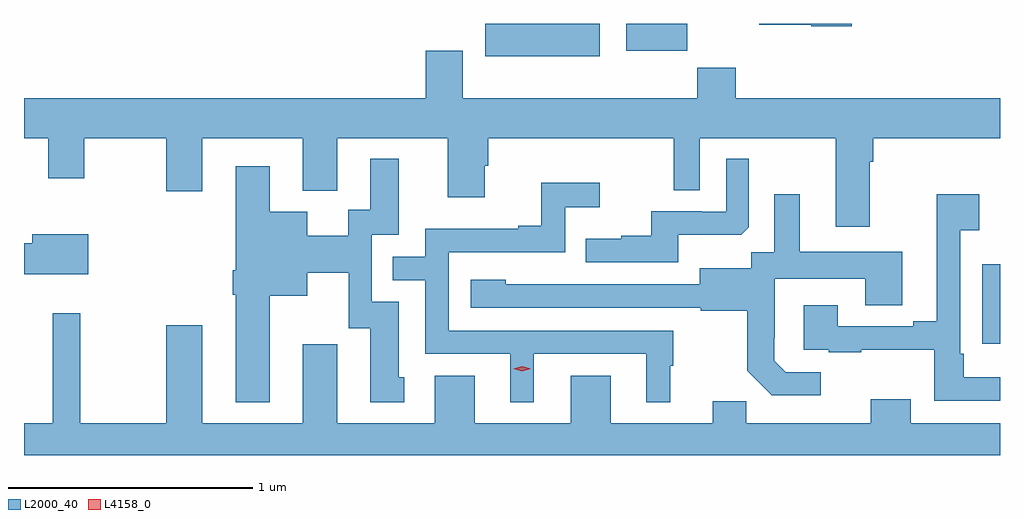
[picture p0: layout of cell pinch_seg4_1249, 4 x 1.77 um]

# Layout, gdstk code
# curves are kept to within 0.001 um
import gdstk
lib = gdstk.Library(unit=1e-6, precision=1e-09)
def R(c, l, rs):  # rectangles x0, y0, x1, y1
    for r in rs: c.add(gdstk.rectangle(r[:2], r[2:], *l))
def P(c, l, *ps):  # polygons
    for p in ps: c.add(gdstk.Polygon(p, *l))
L2000_40 = (2000, 40)
L4158_0 = (4158, 0)

pinch_seg4_1249 = lib.new_cell('pinch_seg4_1249')
R(pinch_seg4_1249, L2000_40, [(181.368,749.357,181.44,749.683), (179.33,750.536,179.8,750.67), (179.909,750.558,180.158,750.67)])
P(pinch_seg4_1249, L2000_40, [(180.833,750.67),(180.454,750.67),(180.454,750.666),(180.666,750.666),(180.666,750.658),(180.833,750.658)],
  [(180.907,750.104),(180.92,750.104),(180.92,750.2),(181.44,750.2),(181.44,750.364),(180.356,750.364),(180.356,750.488),(180.199,750.488),(180.199,750.364),(179.239,750.364),(179.239,750.559),(179.087,750.559),(179.087,750.364),(177.44,750.364),(177.44,750.2),(177.539,750.2),(177.539,750.036),(177.687,750.036),(177.687,750.2),(178.024,750.2),(178.024,749.982),(178.171,749.982),(178.171,750.2),(178.583,750.2),(178.583,749.984),(178.723,749.984),(178.723,750.2),(179.177,750.2),(179.177,749.958),(179.329,749.958),(179.329,750.087),(179.342,750.087),(179.342,750.2),(180.102,750.2),(180.102,749.986),(180.21,749.986),(180.21,750.2),(180.767,750.2),(180.767,749.838),(180.907,749.838)],
  [(180.121,749.804),(180.379,749.804),(180.411,749.835),(180.411,750.115),(180.318,750.115),(180.318,749.898),(180.218,749.898),(180.218,749.901),(180.011,749.901),(180.011,749.8),(179.887,749.8),(179.887,749.788),(179.743,749.788),(179.743,749.691),(180.121,749.691)],
  [(178.447,749.555),(178.6,749.555),(178.6,749.648),(178.77,749.648),(178.77,749.421),(178.859,749.421),(178.859,749.118),(178.999,749.118),(178.999,749.22),(178.975,749.22),(178.975,749.529),(178.866,749.529),(178.866,749.805),(178.975,749.805),(178.975,750.115),(178.859,750.115),(178.859,749.906),(178.769,749.906),(178.769,749.8),(178.6,749.8),(178.6,749.899),(178.447,749.899),(178.447,750.085),(178.307,750.085),(178.307,749.659),(178.295,749.659),(178.295,749.559),(178.307,749.559),(178.307,749.117),(178.447,749.117)],
  [(179.53,749.316),(179.99,749.316),(179.99,749.117),(180.088,749.117),(180.088,749.268),(180.1,749.268),(180.1,749.412),(179.181,749.412),(179.181,749.733),(179.658,749.733),(179.658,749.918),(179.8,749.918),(179.8,750.017),(179.56,750.017),(179.56,749.842),(179.465,749.842),(179.465,749.829),(179.085,749.829),(179.085,749.715),(178.951,749.715),(178.951,749.619),(179.085,749.619),(179.085,749.316),(179.432,749.316),(179.432,749.117),(179.53,749.117)],
  [(181.44,749.221),(181.291,749.221),(181.291,749.317),(181.278,749.317),(181.278,749.822),(181.354,749.822),(181.354,749.971),(181.181,749.971),(181.181,749.449),(181.085,749.449),(181.085,749.43),(180.775,749.43),(180.775,749.515),(180.635,749.515),(180.635,749.334),(180.739,749.334),(180.739,749.322),(180.871,749.322),(180.871,749.333),(181.17,749.333),(181.17,749.124),(181.44,749.124)],
  [(180.706,749.241),(180.561,749.241),(180.514,749.288),(180.514,749.383),(180.516,749.383),(180.516,749.624),(180.887,749.624),(180.887,749.515),(181.039,749.515),(181.039,749.734),(180.619,749.734),(180.619,749.971),(180.515,749.971),(180.515,749.732),(180.42,749.732),(180.42,749.668),(180.209,749.668),(180.209,749.601),(179.415,749.602),(179.415,749.62),(179.271,749.62),(179.271,749.505),(180.213,749.505),(180.213,749.493),(180.405,749.493),(180.405,749.247),(180.505,749.147),(180.706,749.147)],
  [(177.703,749.806),(177.473,749.806),(177.473,749.77),(177.44,749.77),(177.44,749.642),(177.703,749.642)],
  [(181.44,749.032),(181.075,749.032),(181.075,749.131),(180.911,749.131),(180.911,749.032),(180.401,749.032),(180.401,749.123),(180.263,749.123),(180.263,749.032),(179.845,749.032),(179.845,749.227),(179.681,749.227),(179.681,749.032),(179.287,749.032),(179.287,749.227),(179.123,749.227),(179.123,749.032),(178.723,749.032),(178.723,749.356),(178.583,749.356),(178.583,749.032),(178.171,749.032),(178.171,749.434),(178.024,749.434),(178.024,749.032),(177.671,749.032),(177.671,749.482),(177.557,749.482),(177.557,749.032),(177.44,749.032),(177.44,748.9),(181.44,748.9)])
P(pinch_seg4_1249, L4158_0, [(179.481,749.245),(179.445,749.255),(179.445,749.255),(179.445,749.256),(179.481,749.265),(179.517,749.256),(179.517,749.255),(179.517,749.255)])

lib.write_gds('pinch_seg4_1249.gds')
